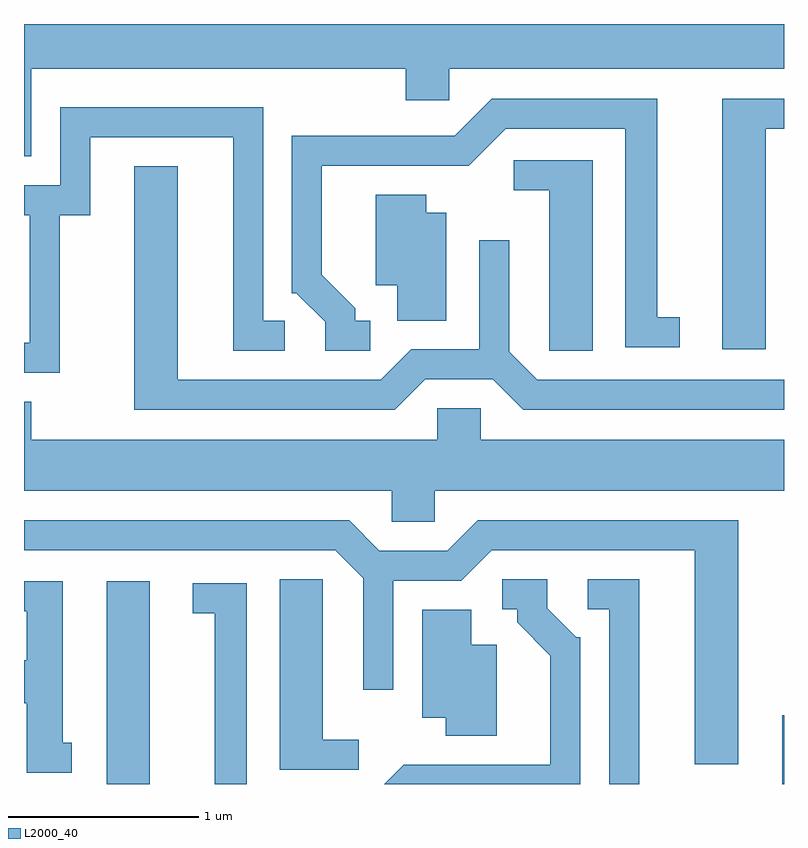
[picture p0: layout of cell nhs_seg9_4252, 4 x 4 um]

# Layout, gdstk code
import gdstk
lib = gdstk.Library(unit=1e-6, precision=1e-09)
def R(c, l, rs):  # rectangles x0, y0, x1, y1
    for r in rs: c.add(gdstk.rectangle(r[:2], r[2:], *l))
def P(c, l, *ps):  # polygons
    for p in ps: c.add(gdstk.Polygon(p, *l))
L2000_40 = (2000, 40)

nhs_seg9_4252 = lib.new_cell('nhs_seg9_4252')
R(nhs_seg9_4252, L2000_40, [(310.046,2052.432,310.274,2053.499), (313.601,2052.432,313.611,2052.794)])
P(nhs_seg9_4252, L2000_40, [(309.649,2056.196),(311.621,2056.196),(311.621,2056.031),(311.849,2056.031),(311.849,2056.196),(313.611,2056.196),(313.611,2056.432),(309.611,2056.432),(309.611,2055.736),(309.649,2055.736)],
  [(311.433,2054.869),(311.354,2054.869),(311.354,2054.937),(311.179,2055.112),(311.179,2055.686),(311.952,2055.686),(312.147,2055.881),(312.776,2055.881),(312.776,2054.731),(313.063,2054.731),(313.063,2054.889),(312.944,2054.889),(312.944,2056.039),(312.074,2056.039),(311.879,2055.844),(311.021,2055.844),(311.021,2055.016),(311.044,2055.016),(311.196,2054.864),(311.196,2054.711),(311.433,2054.711)],
  [(313.514,2055.881),(313.611,2055.881),(313.611,2056.039),(313.286,2056.039),(313.286,2054.721),(313.514,2054.721)],
  [(309.799,2055.426),(309.959,2055.426),(309.959,2055.836),(310.711,2055.836),(310.711,2054.711),(310.983,2054.711),(310.983,2054.869),(310.869,2054.869),(310.869,2055.994),(309.801,2055.994),(309.801,2055.584),(309.611,2055.584),(309.611,2055.426),(309.641,2055.426),(309.641,2054.754),(309.611,2054.754),(309.611,2054.596),(309.799,2054.596)],
  [(312.604,2055.714),(312.188,2055.714),(312.188,2055.556),(312.376,2055.556),(312.376,2054.711),(312.604,2054.711)],
  [(311.722,2054.561),(312.079,2054.561),(312.239,2054.401),(313.611,2054.401),(313.611,2054.559),(312.312,2054.559),(312.164,2054.707),(312.164,2055.293),(312.006,2055.293),(312.006,2054.719),(311.649,2054.719),(311.489,2054.559),(310.419,2054.559),(310.419,2055.684),(310.191,2055.684),(310.191,2054.401),(311.562,2054.401)],
  [(311.834,2055.439),(311.729,2055.439),(311.729,2055.534),(311.461,2055.534),(311.461,2055.056),(311.576,2055.056),(311.576,2054.871),(311.834,2054.871)],
  [(311.774,2053.976),(313.611,2053.976),(313.611,2054.244),(312.014,2054.244),(312.014,2054.409),(311.786,2054.409),(311.786,2054.244),(309.649,2054.244),(309.649,2054.444),(309.611,2054.444),(309.611,2053.976),(311.546,2053.976),(311.546,2053.811),(311.774,2053.811)],
  [(313.369,2053.819),(311.999,2053.819),(311.839,2053.659),(311.482,2053.659),(311.322,2053.819),(309.611,2053.819),(309.611,2053.661),(311.249,2053.661),(311.396,2053.514),(311.396,2052.928),(311.554,2052.928),(311.554,2053.501),(311.912,2053.501),(312.072,2053.661),(313.141,2053.661),(313.141,2052.536),(313.369,2052.536)],
  [(312.539,2053.204),(312.517,2053.204),(312.364,2053.356),(312.364,2053.509),(312.128,2053.509),(312.128,2053.351),(312.206,2053.351),(312.206,2053.284),(312.381,2053.108),(312.381,2052.534),(311.609,2052.534),(311.507,2052.432),(312.539,2052.432)],
  [(311.373,2052.664),(311.184,2052.664),(311.184,2053.509),(310.956,2053.509),(310.956,2052.506),(311.373,2052.506)],
  [(312.849,2053.509),(312.578,2053.509),(312.578,2053.351),(312.691,2053.351),(312.691,2052.432),(312.849,2052.432)],
  [(309.863,2052.649),(309.814,2052.649),(309.814,2053.499),(309.611,2053.499),(309.611,2053.341),(309.626,2053.341),(309.626,2053.084),(309.611,2053.084),(309.611,2052.856),(309.626,2052.856),(309.626,2052.491),(309.863,2052.491)],
  [(310.784,2053.489),(310.498,2053.489),(310.498,2053.331),(310.616,2053.331),(310.616,2052.432),(310.784,2052.432)],
  [(312.099,2053.164),(311.964,2053.164),(311.964,2053.349),(311.706,2053.349),(311.706,2052.781),(311.831,2052.781),(311.831,2052.686),(312.099,2052.686)])

lib.write_gds('nhs_seg9_4252.gds')
